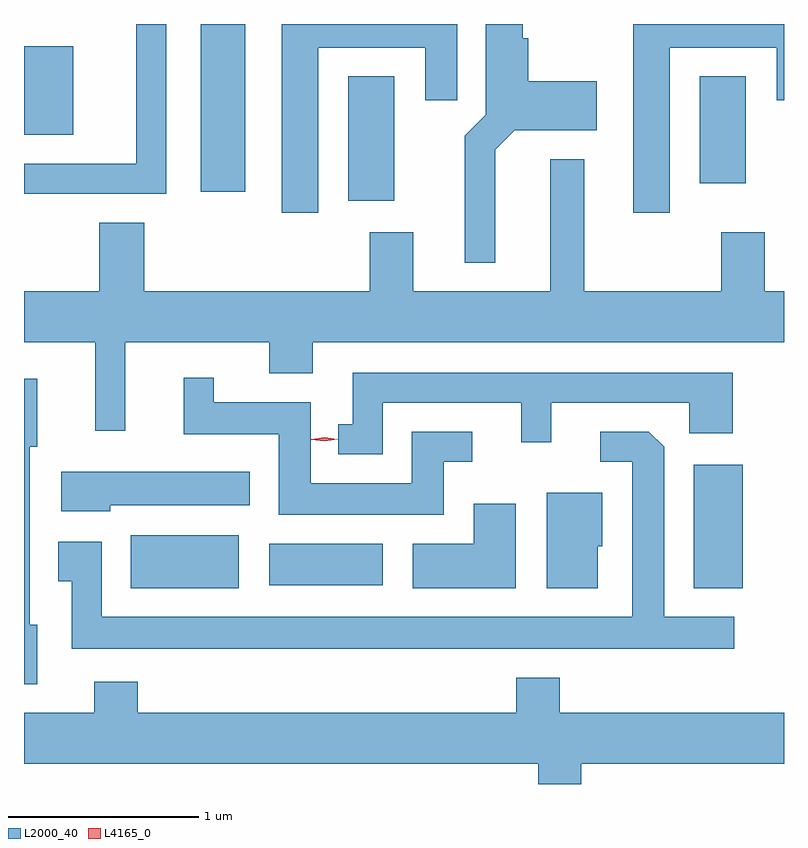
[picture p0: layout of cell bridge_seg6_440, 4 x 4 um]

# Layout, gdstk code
import gdstk
lib = gdstk.Library(unit=1e-6, precision=1e-09)
def R(c, l, rs):  # rectangles x0, y0, x1, y1
    for r in rs: c.add(gdstk.rectangle(r[:2], r[2:], *l))
def P(c, l, *ps):  # polygons
    for p in ps: c.add(gdstk.Polygon(p, *l))
L2000_40 = (2000, 40)
L4165_0 = (4165, 0)

bridge_seg6_440 = lib.new_cell('bridge_seg6_440')
R(bridge_seg6_440, L2000_40, [(807.631,1628.661,808.199,1628.939), (810.596,1628.661,810.854,1629.309), (808.361,1628.676,808.959,1628.894), (808.776,1630.701,809.019,1631.354), (808.001,1630.746,808.234,1631.63), (810.626,1630.791,810.869,1631.354), (807.07,1631.046,807.329,1631.514)])
P(bridge_seg6_440, L2000_40, [(807.819,1631.63),(807.661,1631.63),(807.661,1630.894),(807.07,1630.894),(807.07,1630.736),(807.819,1630.736)],
  [(808.619,1631.506),(809.181,1631.506),(809.181,1631.228),(809.349,1631.228),(809.349,1631.63),(808.426,1631.63),(808.426,1630.636),(808.619,1630.636)],
  [(810.469,1631.506),(811.031,1631.506),(811.031,1631.228),(811.07,1631.228),(811.07,1631.63),(810.276,1631.63),(810.276,1630.636),(810.469,1630.636)],
  [(809.549,1630.969),(809.652,1631.071),(810.084,1631.071),(810.084,1631.329),(809.724,1631.329),(809.724,1631.554),(809.694,1631.554),(809.694,1631.63),(809.501,1631.63),(809.501,1631.152),(809.391,1631.042),(809.391,1630.373),(809.549,1630.373)],
  [(807.604,1629.956),(808.361,1629.956),(808.361,1629.791),(808.589,1629.791),(808.589,1629.956),(811.07,1629.956),(811.07,1630.224),(810.969,1630.224),(810.969,1630.534),(810.741,1630.534),(810.741,1630.224),(810.019,1630.224),(810.019,1630.919),(809.841,1630.919),(809.841,1630.224),(809.119,1630.224),(809.119,1630.534),(808.891,1630.534),(808.891,1630.224),(807.704,1630.224),(807.704,1630.584),(807.466,1630.584),(807.466,1630.224),(807.07,1630.224),(807.07,1629.956),(807.446,1629.956),(807.446,1629.488),(807.604,1629.488)],
  [(808.959,1629.636),(809.686,1629.636),(809.686,1629.428),(809.844,1629.428),(809.844,1629.636),(810.571,1629.636),(810.571,1629.476),(810.799,1629.476),(810.799,1629.794),(808.801,1629.794),(808.801,1629.524),(808.723,1629.524),(808.723,1629.366),(808.959,1629.366)],
  [(809.279,1629.326),(809.428,1629.326),(809.428,1629.484),(809.111,1629.484),(809.111,1629.214),(808.579,1629.214),(808.579,1629.639),(808.069,1629.639),(808.069,1629.768),(807.911,1629.768),(807.911,1629.471),(808.411,1629.471),(808.411,1629.046),(809.279,1629.046)],
  [(807.139,1628.469),(807.099,1628.469),(807.099,1629.406),(807.139,1629.406),(807.139,1629.764),(807.07,1629.764),(807.07,1628.156),(807.139,1628.156)],
  [(810.808,1628.509),(810.439,1628.509),(810.439,1629.404),(810.359,1629.484),(810.103,1629.484),(810.103,1629.326),(810.271,1629.326),(810.271,1628.509),(807.479,1628.509),(807.479,1628.904),(807.251,1628.904),(807.251,1628.696),(807.321,1628.696),(807.321,1628.341),(810.808,1628.341)],
  [(807.524,1629.096),(808.259,1629.096),(808.259,1629.274),(807.266,1629.274),(807.266,1629.066),(807.524,1629.066)],
  [(810.089,1628.881),(810.114,1628.881),(810.114,1629.164),(809.821,1629.164),(809.821,1628.661),(810.089,1628.661)],
  [(809.659,1629.104),(809.436,1629.104),(809.436,1628.894),(809.116,1628.894),(809.116,1628.661),(809.659,1628.661)],
  [(810.004,1627.736),(811.07,1627.736),(811.07,1628.004),(809.889,1628.004),(809.889,1628.189),(809.661,1628.189),(809.661,1628.004),(807.669,1628.004),(807.669,1628.169),(807.441,1628.169),(807.441,1628.004),(807.07,1628.004),(807.07,1627.736),(809.776,1627.736),(809.776,1627.63),(810.004,1627.63)])
P(bridge_seg6_440, L4165_0, [(808.652,1629.434),(808.582,1629.443),(808.582,1629.444),(808.582,1629.444),(808.652,1629.454),(808.721,1629.445),(808.721,1629.444),(808.721,1629.444)])

lib.write_gds('bridge_seg6_440.gds')
